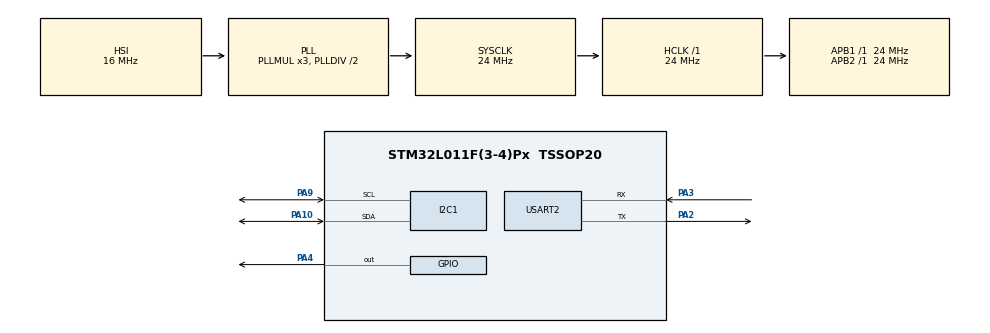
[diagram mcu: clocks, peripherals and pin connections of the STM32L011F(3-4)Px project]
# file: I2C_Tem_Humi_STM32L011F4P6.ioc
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I2C1.Timing=0x00506682
IWDG.Prescaler=IWDG_PRESCALER_256
IWDG.Reload=312
IWDG.Window=312
Mcu.Family=STM32L0
Mcu.Name=STM32L011F(3-4)Px
Mcu.Package=TSSOP20
NVIC.USART2_IRQn=true\:2\:0\:true\:false\:true\:true\:true\:true
PA10.Mode=I2C
PA10.Signal=I2C1_SDA
PA13.Mode=Serial_Wire
PA13.Signal=SYS_SWDIO
PA14.Mode=Serial_Wire
PA14.Signal=SYS_SWCLK
PA2.Mode=Asynchronous
PA2.Signal=USART2_TX
PA3.Mode=Asynchronous
PA3.Signal=USART2_RX
PA4.GPIO_PuPd=GPIO_PULLDOWN
PA4.PinState=GPIO_PIN_RESET
PA4.Signal=GPIO_Output
PA9.Mode=I2C
PA9.Signal=I2C1_SCL
ProjectManager.HeapSize=0x200
ProjectManager.StackSize=0x400
ProjectManager.TargetToolchain=MDK-ARM V5
RCC.ADCFreq_Value=16000000
RCC.AHBFreq_Value=24000000
RCC.APB1Freq_Value=24000000
RCC.APB1TimFreq_Value=24000000
RCC.APB2Freq_Value=24000000
RCC.APB2TimFreq_Value=24000000
RCC.HCLKFreq_Value=24000000
RCC.HSE_VALUE=8000000
RCC.HSI16_VALUE=16000000
RCC.HSI_VALUE=16000000
RCC.LSE_VALUE=32768
RCC.MSI_VALUE=2097000
RCC.SYSCLKFreq_VALUE=24000000
RCC.SYSCLKSource=RCC_SYSCLKSOURCE_PLLCLK
RCC.VCOOutputFreq_Value=48000000
USART2.OverSampling=UART_OVERSAMPLING_16
USART2.VirtualMode-Asynchronous=VM_ASYNC
VP_IWDG_VS_IWDG.Mode=IWDG_Activate
board=custom

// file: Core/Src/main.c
/* USER CODE BEGIN Header */
/**
  ******************************************************************************
  * @file           : main.c
  * @brief          : Main program body
  ******************************************************************************
  * @attention
  *
  * Copyright (c) 2023 STMicroelectronics.
  * All rights reserved.
  *
  * This software is licensed under terms that can be found in the LICENSE file
  * in the root directory of this software component.
  * If no LICENSE file comes with this software, it is provided AS-IS.
  *
  ******************************************************************************
  */

/* USER CODE END Header */
#include "main.h"

/* USER CODE BEGIN Includes */
#include "HS300x.h"
#include "uart_modbus_rtu.h"
/* USER CODE END Includes */

/* USER CODE BEGIN PTD */
#define TIME_SAMPLING      500
/* USER CODE END PTD */

I2C_HandleTypeDef hi2c1;

IWDG_HandleTypeDef hiwdg;

UART_HandleTypeDef huart2;

/* USER CODE BEGIN PV */
uint32_t GetTick_Ms=0;
int16_t tem=0;
int16_t humi=0;

int16_t drop_tem=0;
int16_t drop_humi=0;

UART_BUFFER sUart2 =
{
	.huart = &huart2,
};

uint8_t check_flash=0;

uint32_t baud_rate      = 115200;
uint8_t  addr_stm32l0xx = 26;

uint8_t check_complete_read_sensor=0;
uint32_t gettick_reset=0;
//uint16_t addr_baud_rate        = 0x01;

//uint16_t addr_tem              = 0x02;
//uint16_t addr_tem_unit         = 0x03;
//uint16_t addr_tem_decimal      = 0x04;

//uint16_t addr_humi             = 0X05;
//uint16_t addr_humi_uint        = 0X06;
//uint16_t addr_humi_decimal     = 0x07;
/* USER CODE END PV */

void SystemClock_Config(void);
static void MX_GPIO_Init(void);
static void MX_I2C1_Init(void);
static void MX_USART2_UART_Init(void);
static void MX_IWDG_Init(void);
/* USER CODE BEGIN PFP */
void HAL_UART_RxCpltCallback(UART_HandleTypeDef *huart);
/* USER CODE END PFP */

int main(void)
{

  /* MCU Configuration--------------------------------------------------------*/

  /* Reset of all peripherals, Initializes the Flash interface and the Systick. */
  HAL_Init();

  /* Configure the system clock */
  SystemClock_Config();

  /* Initialize all configured peripherals */
  MX_GPIO_Init();
  MX_I2C1_Init();
  MX_USART2_UART_Init();
  MX_IWDG_Init();
  /* USER CODE BEGIN 2 */
//	for(int i=1;i<128;i++)
//	{
//		if(HAL_I2C_IsDeviceReady(&hi2c1, i<<1, 5,5) == HAL_OK)
//		{
//			address=i;
//		}
//	}
	check_flash = FLASH_ReadData32(FLASH_STARTPAGE_DATA);
	if(check_flash == 0xA5)
	{
		addr_stm32l0xx = FLASH_ReadData32(FLASH_STARTPAGE_DATA+4);
		baud_rate      = FLASH_ReadData32(FLASH_STARTPAGE_DATA+8);
		drop_tem       = FLASH_ReadData32(FLASH_STARTPAGE_DATA+12);
		drop_humi      = FLASH_ReadData32(FLASH_STARTPAGE_DATA+16);
	}
	Uart2_Init(&sUart2, baud_rate);
	HAL_UART_Receive_IT(sUart2.huart,&sUart2.buffer,1);
  /* USER CODE END 2 */
//		HAL_GPIO_WritePin(GPIOA, GPIO_PIN_4, GPIO_PIN_SET);
//	HAL_Delay(10);
//	HAL_UART_Transmit(sUart2.huart, (uint8_t*)"Ready", 5, 1000);
//	HAL_GPIO_WritePin(GPIOA, GPIO_PIN_4, GPIO_PIN_RESET);
  /* Infinite loop */
  while (1)
  {

    /* USER CODE BEGIN 3 */
		if(HAL_GetTick() - GetTick_Ms > TIME_SAMPLING)
		{
			if(HS300X_Start_Measurement(&hi2c1, (int16_t*)&tem, (int16_t*)&humi)==1)
			{
				tem=0x7FFF;
				humi=0x7FFF;
			}
			tem  = tem  + drop_tem;
			humi = humi + drop_humi;
			check_complete_read_sensor++;
			if(check_complete_read_sensor >= MAX_READ_SENSOR_RETURN_NULL)
			{
				check_complete_read_sensor = MAX_READ_SENSOR_RETURN_NULL;
			}
			GetTick_Ms = HAL_GetTick();
		}

		if(check_complete_read_sensor == MAX_READ_SENSOR_RETURN_NULL)
		{
			if(Check_CountBuffer_Complete_Uart(&sUart2) == 1)
			{
				Change_Baudrate_AddrSlave_Calib(&sUart2, &addr_stm32l0xx, &baud_rate, &drop_tem, &drop_humi);
				if(ModbusRTU_Slave(&sUart2, &addr_stm32l0xx, &baud_rate, tem, humi, drop_tem, drop_humi) == 1)
				{
					gettick_reset = HAL_GetTick();
				}
				Delete_Buffer(&sUart2);
			}
		}
		if(HAL_GetTick() - gettick_reset > 60*60000)
		{
			gettick_reset = HAL_GetTick();
			NVIC_SystemReset();
		}
		HAL_IWDG_Refresh(&hiwdg);
  }
  /* USER CODE END 3 */
}

void SystemClock_Config(void)
{
  RCC_OscInitTypeDef RCC_OscInitStruct = {0};
  RCC_ClkInitTypeDef RCC_ClkInitStruct = {0};
  RCC_PeriphCLKInitTypeDef PeriphClkInit = {0};

  /** Configure the main internal regulator output voltage
  */
  __HAL_PWR_VOLTAGESCALING_CONFIG(PWR_REGULATOR_VOLTAGE_SCALE1);

  /** Initializes the RCC Oscillators according to the specified parameters
  * in the RCC_OscInitTypeDef structure.
  */
  RCC_OscInitStruct.OscillatorType = RCC_OSCILLATORTYPE_HSI|RCC_OSCILLATORTYPE_LSI;
  RCC_OscInitStruct.HSIState = RCC_HSI_ON;
  RCC_OscInitStruct.HSICalibrationValue = RCC_HSICALIBRATION_DEFAULT;
  RCC_OscInitStruct.LSIState = RCC_LSI_ON;
  RCC_OscInitStruct.PLL.PLLState = RCC_PLL_ON;
  RCC_OscInitStruct.PLL.PLLSource = RCC_PLLSOURCE_HSI;
  RCC_OscInitStruct.PLL.PLLMUL = RCC_PLLMUL_3;
  RCC_OscInitStruct.PLL.PLLDIV = RCC_PLLDIV_2;
  if (HAL_RCC_OscConfig(&RCC_OscInitStruct) != HAL_OK)
  {
    Error_Handler();
  }

  /** Initializes the CPU, AHB and APB buses clocks
  */
  RCC_ClkInitStruct.ClockType = RCC_CLOCKTYPE_HCLK|RCC_CLOCKTYPE_SYSCLK
                              |RCC_CLOCKTYPE_PCLK1|RCC_CLOCKTYPE_PCLK2;
  RCC_ClkInitStruct.SYSCLKSource = RCC_SYSCLKSOURCE_PLLCLK;
  RCC_ClkInitStruct.AHBCLKDivider = RCC_SYSCLK_DIV1;
  RCC_ClkInitStruct.APB1CLKDivider = RCC_HCLK_DIV1;
  RCC_ClkInitStruct.APB2CLKDivider = RCC_HCLK_DIV1;

  if (HAL_RCC_ClockConfig(&RCC_ClkInitStruct, FLASH_LATENCY_1) != HAL_OK)
  {
    Error_Handler();
  }
  PeriphClkInit.PeriphClockSelection = RCC_PERIPHCLK_USART2|RCC_PERIPHCLK_I2C1;
  PeriphClkInit.Usart2ClockSelection = RCC_USART2CLKSOURCE_PCLK1;
  PeriphClkInit.I2c1ClockSelection = RCC_I2C1CLKSOURCE_PCLK1;
  if (HAL_RCCEx_PeriphCLKConfig(&PeriphClkInit) != HAL_OK)
  {
    Error_Handler();
  }
}

static void MX_I2C1_Init(void)
{

  hi2c1.Instance = I2C1;
  hi2c1.Init.Timing = 0x00506682;
  hi2c1.Init.OwnAddress1 = 0;
  hi2c1.Init.AddressingMode = I2C_ADDRESSINGMODE_7BIT;
  hi2c1.Init.DualAddressMode = I2C_DUALADDRESS_DISABLE;
  hi2c1.Init.OwnAddress2 = 0;
  hi2c1.Init.OwnAddress2Masks = I2C_OA2_NOMASK;
  hi2c1.Init.GeneralCallMode = I2C_GENERALCALL_DISABLE;
  hi2c1.Init.NoStretchMode = I2C_NOSTRETCH_DISABLE;
  if (HAL_I2C_Init(&hi2c1) != HAL_OK)
  {
    Error_Handler();
  }

  /** Configure Analogue filter
  */
  if (HAL_I2CEx_ConfigAnalogFilter(&hi2c1, I2C_ANALOGFILTER_ENABLE) != HAL_OK)
  {
    Error_Handler();
  }

  /** Configure Digital filter
  */
  if (HAL_I2CEx_ConfigDigitalFilter(&hi2c1, 0) != HAL_OK)
  {
    Error_Handler();
  }

}

static void MX_IWDG_Init(void)
{

  hiwdg.Instance = IWDG;
  hiwdg.Init.Prescaler = IWDG_PRESCALER_256;
  hiwdg.Init.Window = 312;
  hiwdg.Init.Reload = 312;
  if (HAL_IWDG_Init(&hiwdg) != HAL_OK)
  {
    Error_Handler();
  }

}

static void MX_USART2_UART_Init(void)
{

  huart2.Instance = USART2;
  huart2.Init.BaudRate = 115200;
  huart2.Init.WordLength = UART_WORDLENGTH_8B;
  huart2.Init.StopBits = UART_STOPBITS_1;
  huart2.Init.Parity = UART_PARITY_NONE;
  huart2.Init.Mode = UART_MODE_TX_RX;
  huart2.Init.HwFlowCtl = UART_HWCONTROL_NONE;
  huart2.Init.OverSampling = UART_OVERSAMPLING_16;
  huart2.Init.OneBitSampling = UART_ONE_BIT_SAMPLE_DISABLE;
  huart2.AdvancedInit.AdvFeatureInit = UART_ADVFEATURE_NO_INIT;
  if (HAL_UART_Init(&huart2) != HAL_OK)
  {
    Error_Handler();
  }

}

static void MX_GPIO_Init(void)
{
  GPIO_InitTypeDef GPIO_InitStruct = {0};

  /* GPIO Ports Clock Enable */
  __HAL_RCC_GPIOA_CLK_ENABLE();

  /*Configure GPIO pin Output Level */
  HAL_GPIO_WritePin(GPIOA, GPIO_PIN_4, GPIO_PIN_RESET);

  /*Configure GPIO pin : PA4 */
  GPIO_InitStruct.Pin = GPIO_PIN_4;
  GPIO_InitStruct.Mode = GPIO_MODE_OUTPUT_PP;
  GPIO_InitStruct.Pull = GPIO_PULLDOWN;
  GPIO_InitStruct.Speed = GPIO_SPEED_FREQ_LOW;
  HAL_GPIO_Init(GPIOA, &GPIO_InitStruct);

}

/* USER CODE BEGIN 4 */

void HAL_UART_RxCpltCallback(UART_HandleTypeDef *huart)
{
  /* Prevent unused argument(s) compilation warning */
  UNUSED(huart);
	if(huart->Instance == huart2.Instance)
	{
		if(check_complete_read_sensor == MAX_READ_SENSOR_RETURN_NULL)
		{
			if(Check_CountBuffer_Complete_Uart(&sUart2) == 0)
			{
				if(sUart2.countBuffer < LENGTH_BUFFER_UART )
				{
					sUart2.sim_rx[(sUart2.countBuffer)++] = sUart2.buffer;
				}
			}
		}
		HAL_UART_Receive_IT(&huart2,&sUart2.buffer,1);
	}
  /* NOTE: This function should not be modified, when the callback is needed,
           the HAL_UART_RxCpltCallback could be implemented in the user file
   */
}

/* USER CODE END 4 */

void Error_Handler(void)
{
  __disable_irq();
  while (1)
  {
  }
}
